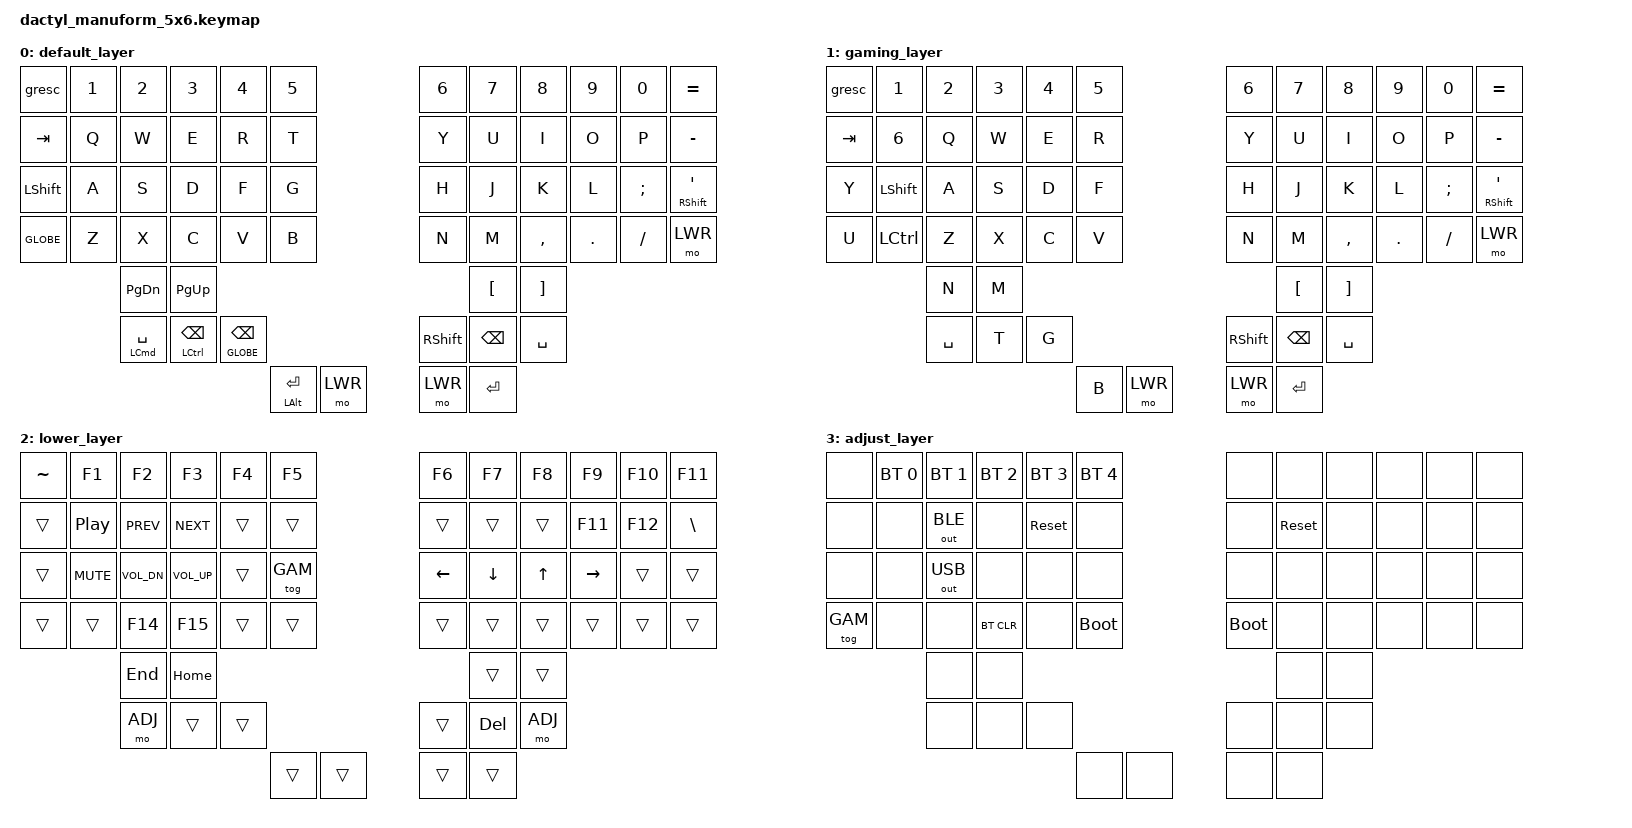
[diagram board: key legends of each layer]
#include <behaviors.dtsi>
#include <dt-bindings/zmk/keys.h>
#include <dt-bindings/zmk/bt.h>
#include <dt-bindings/zmk/outputs.h>

#define DEFAULT 0
#define GAM 1
#define LWR 2
#define ADJ 3

&mt {
    tapping-term-ms = <150>;
};


/ {
    keymap {
        compatible = "zmk,keymap";

        default_layer {
            bindings = <
                &gresc    &kp N1 &kp N2 &kp N3 &kp N4 &kp N5                          &kp N6 &kp N7    &kp N8    &kp N9  &kp N0   &kp EQUAL
                &kp TAB   &kp Q  &kp W  &kp E  &kp R  &kp T                           &kp Y  &kp U     &kp I     &kp O   &kp P    &kp MINUS
                &kp LSHFT &kp A  &kp S  &kp D  &kp F  &kp G                           &kp H  &kp J     &kp K     &kp L   &kp SEMI &mt RSHFT APOS
                &kp GLOBE &kp Z  &kp X  &kp C  &kp V  &kp B                           &kp N  &kp M     &kp COMMA &kp DOT &kp FSLH &mo LWR
                                 &kp PG_DN &kp PG_UP                                         &kp LBKT  &kp RBKT
                                    &mt LCMD SPACE &mt LCTRL BSPC &mt GLOBE BSPC &kp RSHFT &kp BSPC &kp SPACE
                                                   &mt LALT RET   &mo LWR        &mo LWR &kp RET
            >;
        };

        gaming_layer {
            bindings = <
                &gresc   &kp N1    &kp N2 &kp N3 &kp N4 &kp N5                &kp N6 &kp N7 &kp N8    &kp N9  &kp N0   &kp EQUAL
                &kp TAB  &kp N6    &kp Q  &kp W  &kp E  &kp R                 &kp Y  &kp U  &kp I     &kp O   &kp P    &kp MINUS
                &kp Y    &kp LSHFT &kp A  &kp S  &kp D  &kp F                 &kp H  &kp J  &kp K     &kp L   &kp SEMI &mt RSHFT APOS
                &kp U    &kp LCTRL &kp Z  &kp X  &kp C  &kp V                 &kp N  &kp M  &kp COMMA &kp DOT &kp FSLH &mo LWR
                                   &kp N  &kp M                                                  &kp LBKT  &kp RBKT
                                          &kp SPACE &kp T &kp G               &kp RSHFT &kp BSPC &kp SPACE
                                                 &kp B  &mo LWR               &mo LWR &kp RET
            >;
        };

        lower_layer {
            bindings = <
                &kp TILDE &kp F1       &kp F2       &kp F3       &kp F4 &kp F5         &kp F6   &kp F7   &kp F8   &kp F9    &kp F10 &kp F11
                &trans    &kp C_PP     &kp C_PREV   &kp C_NEXT   &trans &trans      &trans   &trans   &trans   &kp F11   &kp F12 &kp BSLH
                &trans    &kp C_MUTE   &kp C_VOL_DN &kp C_VOL_UP &trans &tog GAM    &kp LEFT &kp DOWN &kp UP   &kp RIGHT &trans  &trans
                &trans    &trans       &kp F14      &kp F15      &trans &trans         &trans   &trans   &trans   &trans    &trans  &trans
                                       &kp END   &kp HOME                                               &trans   &trans
                                            &mo ADJ &trans &trans                      &trans &kp DEL &mo ADJ
                                                    &trans &trans                      &trans &trans
            >;
        };

        adjust_layer {
            bindings = <
                &none &bt BT_SEL 0 &bt BT_SEL 1 &bt BT_SEL 2 &bt BT_SEL 3 &bt BT_SEL 4           &none       &none  &none &none &none &none
                &none    &none     &out OUT_BLE &none        &sys_reset   &none                  &none       &sys_reset &none &none &none &none
                &none    &none     &out OUT_USB &none        &none        &none                  &none       &none  &none &none &none &none
                &tog GAM &none     &none        &bt BT_CLR   &none        &bootloader            &bootloader &none  &none &none &none &none
                                   &none        &none                                                               &none &none
                                                &none        &none        &none                  &none       &none  &none
                                                             &none        &none                  &none       &none
            >;
        };
    };
};
